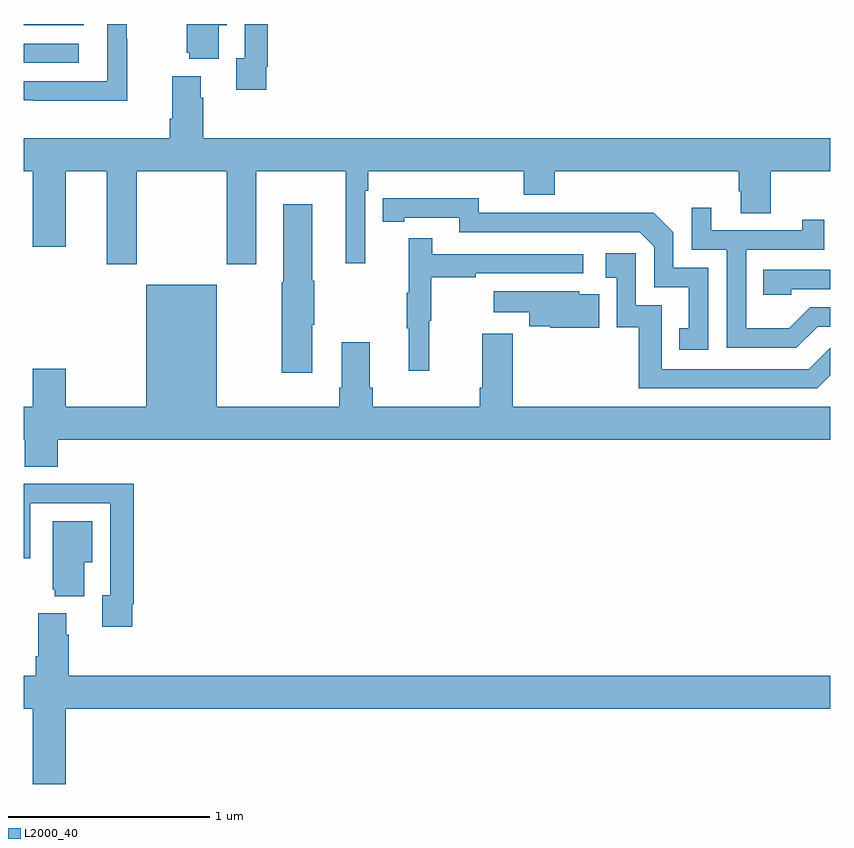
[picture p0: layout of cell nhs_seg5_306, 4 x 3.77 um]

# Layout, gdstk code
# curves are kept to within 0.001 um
import gdstk
lib = gdstk.Library(unit=1e-6, precision=1e-09)
def R(c, l, rs):  # rectangles x0, y0, x1, y1
    for r in rs: c.add(gdstk.rectangle(r[:2], r[2:], *l))
def P(c, l, *ps):  # polygons
    for p in ps: c.add(gdstk.Polygon(p, *l))
L2000_40 = (2000, 40)

nhs_seg5_306 = lib.new_cell('nhs_seg5_306')
R(nhs_seg5_306, L2000_40, [(129,882.606,129.274,882.702), (129,882.794,129.298,882.799)])
P(nhs_seg5_306, L2000_40, [(130.204,882.586),(130.211,882.586),(130.211,882.799),(130.095,882.799),(130.095,882.63),(130.055,882.63),(130.055,882.474),(130.204,882.474)],
  [(129.513,882.725),(129.51,882.725),(129.51,882.799),(129.414,882.799),(129.414,882.516),(129,882.516),(129,882.42),(129.049,882.42),(129.049,882.419),(129.513,882.419)],
  [(129.967,882.794),(130.006,882.794),(130.006,882.799),(129.809,882.799),(129.809,882.657),(129.821,882.657),(129.821,882.626),(129.967,882.626)],
  [(129.877,882.434),(129.877,882.541),(129.737,882.541),(129.737,882.328),(129.725,882.328),(129.725,882.232),(129,882.232),(129,882.068),(129.044,882.068),(129.044,881.694),(129.208,881.694),(129.208,882.068),(129.413,882.068),(129.413,881.607),(129.561,881.607),(129.561,882.068),(130.006,882.068),(130.006,881.607),(130.153,881.607),(130.153,882.068),(130.598,882.068),(130.598,881.613),(130.695,881.613),(130.695,881.972),(130.709,881.972),(130.709,882.068),(131.48,882.068),(131.48,881.951),(131.633,881.951),(131.633,882.068),(132.545,882.068),(132.545,881.97),(132.557,881.97),(132.557,881.86),(132.705,881.86),(132.705,882.068),(133,882.068),(133,882.232),(129.89,882.232),(129.89,882.434)],
  [(132.396,881.589),(132.222,881.589),(132.222,881.766),(132.124,881.864),(131.716,881.864),(131.716,881.862),(131.256,881.862),(131.256,881.935),(130.78,881.934),(130.78,881.818),(130.888,881.818),(130.888,881.838),(131.16,881.838),(131.16,881.766),(132.054,881.766),(132.126,881.694),(132.126,881.493),(132.299,881.493),(132.299,881.289),(132.25,881.289),(132.25,881.184),(132.396,881.184)],
  [(130.432,881.308),(130.44,881.308),(130.44,881.525),(130.432,881.525),(130.432,881.905),(130.286,881.905),(130.286,881.519),(130.279,881.519),(130.279,881.07),(130.432,881.07)],
  [(132.937,881.298),(133,881.298),(133,881.394),(132.9,881.394),(132.796,881.29),(132.582,881.29),(132.582,881.679),(132.971,881.679),(132.971,881.827),(132.86,881.827),(132.86,881.775),(132.409,881.775),(132.409,881.887),(132.312,881.887),(132.312,881.679),(132.486,881.679),(132.486,881.193),(132.832,881.193)],
  [(131.012,881.328),(131.02,881.328),(131.02,881.542),(131.243,881.542),(131.243,881.562),(131.776,881.562),(131.776,881.658),(131.027,881.658),(131.027,881.737),(130.91,881.737),(130.91,881.465),(130.899,881.465),(130.899,881.291),(130.91,881.291),(130.91,881.079),(131.012,881.079)],
  [(133,881.056),(133,881.194),(132.894,881.088),(132.165,881.088),(132.165,881.403),(132.036,881.403),(132.036,881.662),(131.886,881.662),(131.886,881.541),(131.94,881.541),(131.94,881.295),(132.049,881.295),(132.049,880.992),(132.936,880.992)],
  [(132.807,881.484),(133,881.484),(133,881.58),(132.667,881.58),(132.667,881.457),(132.807,881.457)],
  [(129.17,880.736),(133,880.736),(133,880.9),(131.426,880.9),(131.426,881.263),(131.273,881.263),(131.273,880.996),(131.261,880.996),(131.261,880.9),(130.73,880.9),(130.73,880.996),(130.717,880.996),(130.717,881.221),(130.577,881.221),(130.577,880.996),(130.565,880.996),(130.565,880.9),(129.958,880.9),(129.958,881.506),(129.608,881.506),(129.608,880.9),(129.208,880.9),(129.208,881.089),(129.044,881.089),(129.044,880.9),(129,880.9),(129,880.736),(129.005,880.736),(129.005,880.603),(129.17,880.603)],
  [(131.855,881.458),(131.754,881.458),(131.754,881.473),(131.331,881.473),(131.331,881.369),(131.507,881.369),(131.507,881.3),(131.611,881.3),(131.611,881.293),(131.855,881.293)],
  [(129.538,879.922),(129.545,879.922),(129.545,880.52),(129.253,880.52),(129.253,880.518),(129,880.518),(129,880.149),(129.033,880.149),(129.033,880.422),(129.429,880.422),(129.429,879.966),(129.389,879.966),(129.389,879.81),(129.538,879.81)],
  [(129.301,880.13),(129.34,880.13),(129.34,880.333),(129.143,880.333),(129.143,879.993),(129.155,879.993),(129.155,879.962),(129.301,879.962)],
  [(129.208,879.404),(133,879.404),(133,879.568),(129.224,879.568),(129.224,879.77),(129.211,879.77),(129.211,879.877),(129.071,879.877),(129.071,879.664),(129.059,879.664),(129.059,879.568),(129,879.568),(129,879.404),(129.044,879.404),(129.044,879.03),(129.208,879.03)])

lib.write_gds('nhs_seg5_306.gds')
